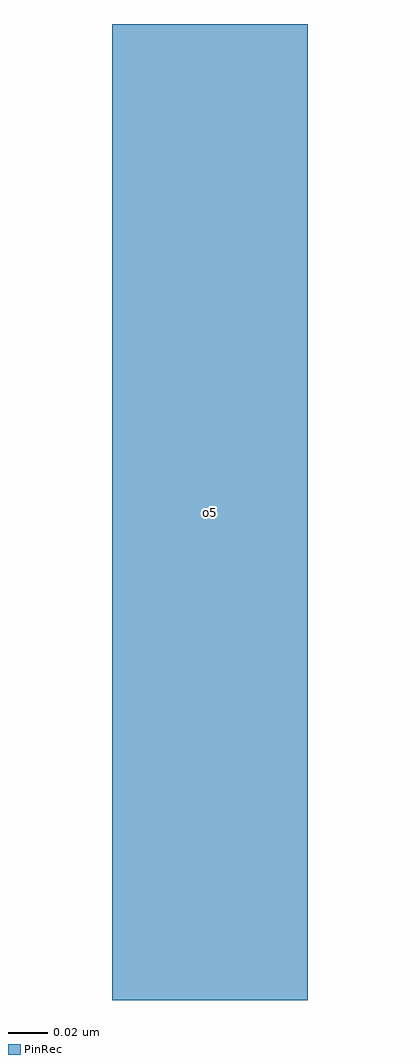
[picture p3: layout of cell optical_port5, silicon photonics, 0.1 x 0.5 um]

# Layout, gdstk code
import gdstk
lib = gdstk.Library(unit=1e-6, precision=1e-09)
PinRec = (1, 10)

optical_port5 = lib.new_cell('optical_port5')
optical_port5.add(gdstk.FlexPath([(-0.05,0),(0.05,0)], 0.5, ends="flush", simple_path=True, layer=1, datatype=10))  # PinRec
optical_port5.add(gdstk.FlexPath([(-0.05,0),(0.05,0)], 0.5, ends="flush", simple_path=True, layer=1, datatype=10))  # PinRec
optical_port5.add(gdstk.FlexPath([(-0.05,0),(0.05,0)], 0.5, ends="flush", simple_path=True, layer=1, datatype=10))  # PinRec
optical_port5.add(gdstk.FlexPath([(-0.05,0),(0.05,0)], 0.5, ends="flush", simple_path=True, layer=1, datatype=10))  # PinRec
optical_port5.add(gdstk.FlexPath([(-0.05,0),(0.05,0)], 0.5, ends="flush", simple_path=True, layer=1, datatype=10))  # PinRec
optical_port5.add(gdstk.FlexPath([(-0.05,0),(0.05,0)], 0.5, ends="flush", simple_path=True, layer=1, datatype=10))  # PinRec
optical_port5.add(gdstk.FlexPath([(-0.05,0),(0.05,0)], 0.5, ends="flush", simple_path=True, layer=1, datatype=10))  # PinRec
optical_port5.add(gdstk.FlexPath([(-0.05,0),(0.05,0)], 0.5, ends="flush", simple_path=True, layer=1, datatype=10))  # PinRec
optical_port5.add(gdstk.FlexPath([(-0.05,0),(0.05,0)], 0.5, ends="flush", simple_path=True, layer=1, datatype=10))  # PinRec
optical_port5.add(gdstk.FlexPath([(-0.05,0),(0.05,0)], 0.5, ends="flush", simple_path=True, layer=1, datatype=10))  # PinRec
optical_port5.add(gdstk.FlexPath([(-0.05,0),(0.05,0)], 0.5, ends="flush", simple_path=True, layer=1, datatype=10))  # PinRec
optical_port5.add(gdstk.FlexPath([(-0.05,0),(0.05,0)], 0.5, ends="flush", simple_path=True, layer=1, datatype=10))  # PinRec
optical_port5.add(gdstk.FlexPath([(-0.05,0),(0.05,0)], 0.5, ends="flush", simple_path=True, layer=1, datatype=10))  # PinRec
optical_port5.add(gdstk.FlexPath([(-0.05,0),(0.05,0)], 0.5, ends="flush", simple_path=True, layer=1, datatype=10))  # PinRec
optical_port5.add(gdstk.FlexPath([(-0.05,0),(0.05,0)], 0.5, ends="flush", simple_path=True, layer=1, datatype=10))  # PinRec
optical_port5.add(gdstk.FlexPath([(-0.05,0),(0.05,0)], 0.5, ends="flush", simple_path=True, layer=1, datatype=10))  # PinRec
optical_port5.add(gdstk.FlexPath([(-0.05,0),(0.05,0)], 0.5, ends="flush", simple_path=True, layer=1, datatype=10))  # PinRec
optical_port5.add(gdstk.FlexPath([(-0.05,0),(0.05,0)], 0.5, ends="flush", simple_path=True, layer=1, datatype=10))  # PinRec
optical_port5.add(gdstk.FlexPath([(-0.05,0),(0.05,0)], 0.5, ends="flush", simple_path=True, layer=1, datatype=10))  # PinRec
optical_port5.add(gdstk.FlexPath([(-0.05,0),(0.05,0)], 0.5, ends="flush", simple_path=True, layer=1, datatype=10))  # PinRec
optical_port5.add(gdstk.FlexPath([(-0.05,0),(0.05,0)], 0.5, ends="flush", simple_path=True, layer=1, datatype=10))  # PinRec
optical_port5.add(gdstk.FlexPath([(-0.05,0),(0.05,0)], 0.5, ends="flush", simple_path=True, layer=1, datatype=10))  # PinRec
optical_port5.add(gdstk.FlexPath([(-0.05,0),(0.05,0)], 0.5, ends="flush", simple_path=True, layer=1, datatype=10))  # PinRec
optical_port5.add(gdstk.FlexPath([(-0.05,0),(0.05,0)], 0.5, ends="flush", simple_path=True, layer=1, datatype=10))  # PinRec
optical_port5.add(gdstk.FlexPath([(-0.05,0),(0.05,0)], 0.5, ends="flush", simple_path=True, layer=1, datatype=10))  # PinRec
optical_port5.add(gdstk.FlexPath([(-0.05,0),(0.05,0)], 0.5, ends="flush", simple_path=True, layer=1, datatype=10))  # PinRec
optical_port5.add(gdstk.FlexPath([(-0.05,0),(0.05,0)], 0.5, ends="flush", simple_path=True, layer=1, datatype=10))  # PinRec
optical_port5.add(gdstk.FlexPath([(-0.05,0),(0.05,0)], 0.5, ends="flush", simple_path=True, layer=1, datatype=10))  # PinRec
optical_port5.add(gdstk.FlexPath([(-0.05,0),(0.05,0)], 0.5, ends="flush", simple_path=True, layer=1, datatype=10))  # PinRec
optical_port5.add(gdstk.FlexPath([(-0.05,0),(0.05,0)], 0.5, ends="flush", simple_path=True, layer=1, datatype=10))  # PinRec
optical_port5.add(gdstk.Label('o5', (0,0), layer=1, texttype=10))
optical_port5.add(gdstk.Label('o5', (0,0), layer=1, texttype=10))
optical_port5.add(gdstk.Label('o5', (0,0), layer=1, texttype=10))
optical_port5.add(gdstk.Label('o5', (0,0), layer=1, texttype=10))
optical_port5.add(gdstk.Label('o5', (0,0), layer=1, texttype=10))
optical_port5.add(gdstk.Label('o5', (0,0), layer=1, texttype=10))
optical_port5.add(gdstk.Label('o5', (0,0), layer=1, texttype=10))
optical_port5.add(gdstk.Label('o5', (0,0), layer=1, texttype=10))
optical_port5.add(gdstk.Label('o5', (0,0), layer=1, texttype=10))
optical_port5.add(gdstk.Label('o5', (0,0), layer=1, texttype=10))
optical_port5.add(gdstk.Label('o5', (0,0), layer=1, texttype=10))
optical_port5.add(gdstk.Label('o5', (0,0), layer=1, texttype=10))
optical_port5.add(gdstk.Label('o5', (0,0), layer=1, texttype=10))
optical_port5.add(gdstk.Label('o5', (0,0), layer=1, texttype=10))
optical_port5.add(gdstk.Label('o5', (0,0), layer=1, texttype=10))
optical_port5.add(gdstk.Label('o5', (0,0), layer=1, texttype=10))
optical_port5.add(gdstk.Label('o5', (0,0), layer=1, texttype=10))
optical_port5.add(gdstk.Label('o5', (0,0), layer=1, texttype=10))
optical_port5.add(gdstk.Label('o5', (0,0), layer=1, texttype=10))
optical_port5.add(gdstk.Label('o5', (0,0), layer=1, texttype=10))
optical_port5.add(gdstk.Label('o5', (0,0), layer=1, texttype=10))
optical_port5.add(gdstk.Label('o5', (0,0), layer=1, texttype=10))
optical_port5.add(gdstk.Label('o5', (0,0), layer=1, texttype=10))
optical_port5.add(gdstk.Label('o5', (0,0), layer=1, texttype=10))
optical_port5.add(gdstk.Label('o5', (0,0), layer=1, texttype=10))
optical_port5.add(gdstk.Label('o5', (0,0), layer=1, texttype=10))
optical_port5.add(gdstk.Label('o5', (0,0), layer=1, texttype=10))
optical_port5.add(gdstk.Label('o5', (0,0), layer=1, texttype=10))
optical_port5.add(gdstk.Label('o5', (0,0), layer=1, texttype=10))
optical_port5.add(gdstk.Label('o5', (0,0), layer=1, texttype=10))

lib.write_gds('optical_port5.gds')
